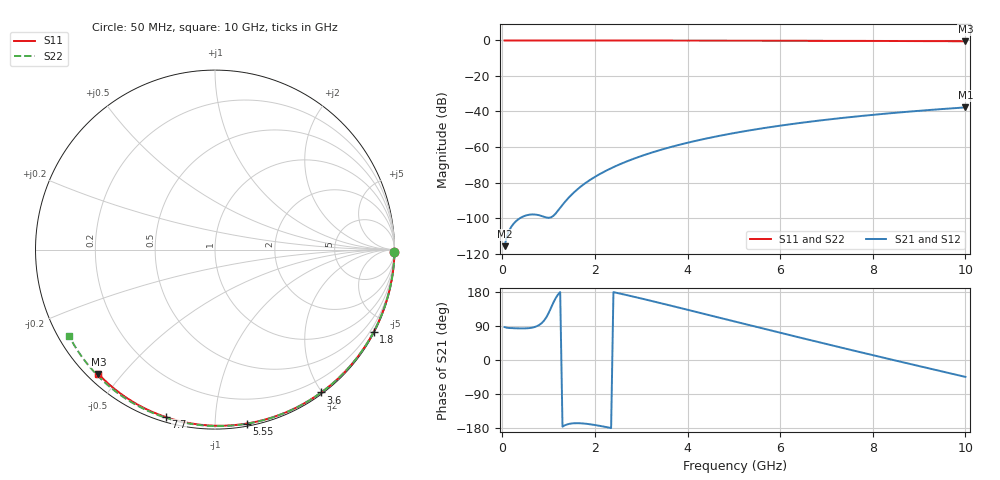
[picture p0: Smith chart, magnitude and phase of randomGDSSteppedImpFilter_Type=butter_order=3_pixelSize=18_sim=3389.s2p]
! freq	dB(S11)	phase(S11)	dB(S12)	phase(S12)
!  dB(S21)	phase(S21)	dB(S22)	phase(S22)
!S-par simulation data
#  GHz  S  DB  R 50
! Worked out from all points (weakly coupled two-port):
!   200 points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, 50 MHz to 10 GHz, reference 50 ohm
!   highest |S21| = -37.70 dB at 10 GHz (marker M1); lowest = -115.8 dB at 50 MHz (marker M2)
!   lowest |S11| = -0.4 dB at 10 GHz (marker M3), VSWR 38.69, Z = 1.53 - j21.6 ohm
!   |S11| at or under -10 dB: nowhere
!   |S22| runs from -0.5 to 0.0 dB; largest |S21 - S12| = 0
!   S11 on the Smith chart (normalised r, x): 50 MHz: open; 1.8 GHz: 0.04, -4.12; 3.6 GHz: 0.02, -1.99; 5.55 GHz: 0.02, -1.20; 7.7 GHz: 0.02, -0.75; 10 GHz: 0.03, -0.43
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0.05  -0.00 -0.8  -115.83 86.7  -115.83 86.7  -0.00 -0.9
0.45  -0.01 -6.9  -99.13 83.3  -99.13 83.3  -0.01 -7.8
0.9  -0.02 -13.8  -99.28 103.7  -99.28 103.7  -0.02 -15.5
1.3  -0.02 -19.8  -92.57 -175.9  -92.57 -175.9  -0.03 -22.3
1.75  -0.03 -26.6  -81.17 -167.5  -81.17 -167.5  -0.04 -29.9
1.8  -0.03 -27.3  -80.21 -168.1  -80.21 -168.1  -0.04 -30.7
2.15  -0.04 -32.5  -74.59 -174.8  -74.59 -174.8  -0.05 -36.5
2.5  -0.05 -37.6  -70.15 176.4  -70.15 176.4  -0.05 -42.3
2.9  -0.06 -43.4  -66.01 165.3  -66.01 165.3  -0.06 -48.8
3.4  -0.07 -50.5  -61.76 150.6  -61.76 150.6  -0.07 -56.7
3.6  -0.07 -53.4  -60.27 144.6  -60.27 144.6  -0.08 -59.9
3.9  -0.08 -57.5  -58.24 135.6  -58.24 135.6  -0.09 -64.5
4.3  -0.09 -63.1  -55.80 123.5  -55.80 123.5  -0.10 -70.7
5.05  -0.11 -73.1  -51.93 100.7  -51.93 100.7  -0.13 -81.9
5.55  -0.13 -79.7  -49.74 85.5  -49.74 85.5  -0.15 -89.1
6.1  -0.15 -86.7  -47.61 69.0  -47.61 69.0  -0.17 -96.9
6.7  -0.18 -94.2  -45.56 51.0  -45.56 51.0  -0.20 -105.3
7.2  -0.21 -100.4  -44.04 36.2  -44.04 36.2  -0.23 -112.1
7.7  -0.24 -106.4  -42.66 21.5  -42.66 21.5  -0.27 -118.8
8.35  -0.29 -114.1  -41.04 2.6  -41.04 2.6  -0.32 -127.5
9.2  -0.37 -124.0  -39.20 -21.8  -39.20 -21.8  -0.41 -138.7
10  -0.45 -133.2  -37.70 -44.6  -37.70 -44.6  -0.50 -149.4
